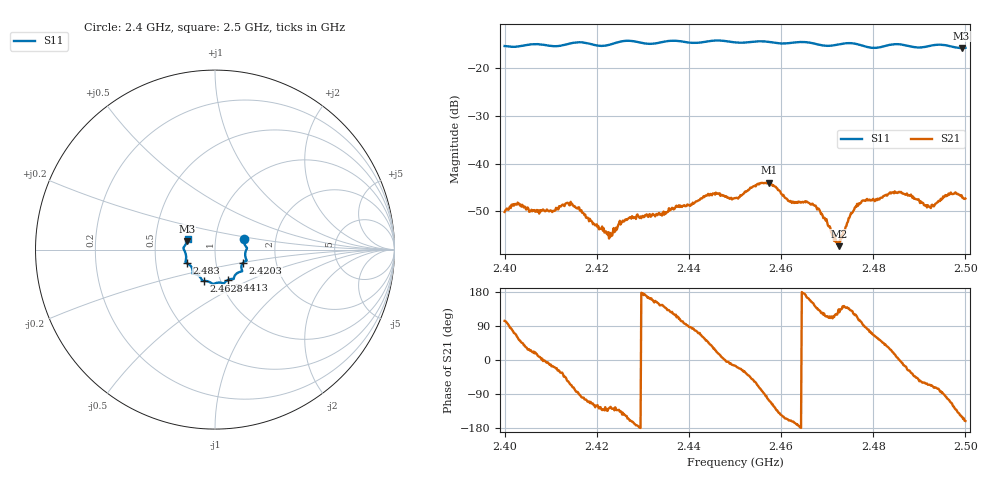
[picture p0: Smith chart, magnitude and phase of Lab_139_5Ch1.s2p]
# Hz S RI R 50
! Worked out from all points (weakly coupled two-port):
!   601 points, 2.4 GHz to 2.5 GHz, reference 50 ohm
!   highest |S21| = -44.00 dB at 2.4573 GHz (marker M1); lowest = -57.3 dB at 2.4725 GHz (marker M2)
!   lowest |S11| = -15.8 dB at 2.4992 GHz (marker M3), VSWR 1.39, Z = 36.4 + j3.56 ohm
!   |S11| at or under -10 dB: start of sweep to end of sweep
!   S12 and S22 are empty: the file has one direction only
!   S11 on the Smith chart (normalised r, x): 2.4 GHz: 1.37, +0.16; 2.4203 GHz: 1.35, -0.21; 2.4413 GHz: 1.09, -0.38; 2.4628 GHz: 0.83, -0.30; 2.483 GHz: 0.72, -0.11; 2.5 GHz: 0.73, +0.09
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2.4e9  0.1609 0.0565  -0.000709 0.00302  0 0  0 0
2.4105e9  0.1694 -0.0153  0.00306 -0.000909  0 0  0 0
2.413833e9  0.1723 -0.05  0.00211 -0.00319  0 0  0 0
2.416667e9  0.1759 -0.0618  -0.000438 -0.00321  0 0  0 0
2.420333e9  0.1551 -0.0742  -0.00127 -0.00181  0 0  0 0
2.422833e9  0.1467 -0.0975  -0.00108 -0.00153  0 0  0 0
2.426667e9  0.1517 -0.1202  -0.00235 -0.00112  0 0  0 0
2.433333e9  0.1081 -0.1486  -0.00255 0.00148  0 0  0 0
2.441333e9  0.0742 -0.1679  0.000834 0.00381  0 0  0 0
2.445667e9  0.0508 -0.1879  0.00424 0.00208  0 0  0 0
2.45e9  0.0293 -0.1839  0.00419 -0.00115  0 0  0 0
2.457333e9  -0.0188 -0.1873  -0.00176 -0.00606  0 0  0 0
2.462833e9  -0.0627 -0.1746  -0.00373 -0.000987  0 0  0 0
2.466667e9  -0.0743 -0.1675  -0.00338 0.00171  0 0  0 0
2.4725e9  -0.1152 -0.1348  -0.00094 0.000982  0 0  0 0
2.4765e9  -0.1249 -0.1274  -0.00151 0.00347  0 0  0 0
2.483e9  -0.1549 -0.0768  0.00373 0.00269  0 0  0 0
2.483333e9  -0.1571 -0.0755  0.00404 0.00259  0 0  0 0
2.492e9  -0.1698 -0.00718  0.0015 -0.00325  0 0  0 0
2.4965e9  -0.1694 0.0195  -0.00131 -0.00452  0 0  0 0
2.499167e9  -0.1554 0.0476  -0.004 -0.00236  0 0  0 0
2.5e9  -0.1527 0.0588  -0.00406 -0.00139  0 0  0 0
